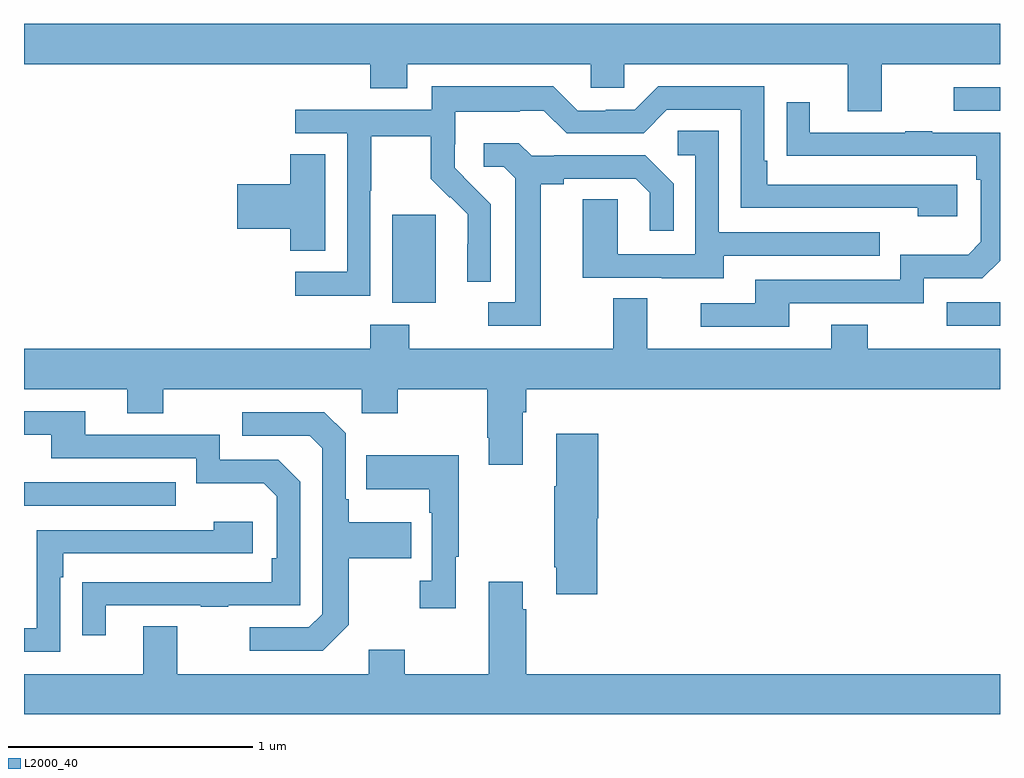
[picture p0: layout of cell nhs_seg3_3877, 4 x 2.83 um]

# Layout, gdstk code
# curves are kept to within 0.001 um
import gdstk
lib = gdstk.Library(unit=1e-6, precision=1e-09)
def R(c, l, rs):  # rectangles x0, y0, x1, y1
    for r in rs: c.add(gdstk.rectangle(r[:2], r[2:], *l))
def P(c, l, *ps):  # polygons
    for p in ps: c.add(gdstk.Polygon(p, *l))
L2000_40 = (2000, 40)

nhs_seg3_3877 = lib.new_cell('nhs_seg3_3877')
R(nhs_seg3_3877, L2000_40, [(311,725.745,311.621,725.841), (314.781,726.483,315,726.579), (312.509,726.578,312.688,726.939), (314.811,727.365,315,727.461)])
P(nhs_seg3_3877, L2000_40, [(314.515,727.556),(315,727.556),(315,727.72),(311,727.72),(311,727.556),(312.419,727.556),(312.419,727.457),(312.571,727.457),(312.571,727.556),(313.323,727.556),(313.323,727.458),(313.461,727.458),(313.461,727.556),(314.375,727.556),(314.375,727.362),(314.515,727.362)],
  [(312.42,727.036),(312.423,727.036),(312.423,727.26),(312.667,727.26),(312.667,727.085),(312.744,727.008),(312.747,727.011),(312.818,726.941),(312.818,726.818),(312.816,726.818),(312.816,726.664),(312.912,726.664),(312.912,726.982),(312.766,727.13),(312.766,727.227),(312.768,727.227),(312.768,727.361),(313.031,727.361),(313.031,727.365),(313.131,727.365),(313.224,727.272),(313.539,727.272),(313.635,727.368),(313.938,727.368),(313.938,726.966),(314.663,726.966),(314.663,726.932),(314.824,726.932),(314.824,727.062),(314.047,727.062),(314.047,727.159),(314.034,727.159),(314.034,727.464),(313.599,727.464),(313.503,727.368),(313.385,727.368),(313.385,727.365),(313.269,727.365),(313.169,727.465),(312.672,727.465),(312.672,727.368),(312.111,727.368),(312.111,727.272),(312.324,727.272),(312.324,726.705),(312.111,726.705),(312.111,726.607),(312.42,726.607)],
  [(314.137,726.576),(314.688,726.576),(314.688,726.678),(314.928,726.678),(315,726.75),(315,727.275),(314.723,727.275),(314.723,727.28),(314.611,727.28),(314.611,727.275),(314.221,727.275),(314.221,727.399),(314.125,727.399),(314.125,727.18),(314.902,727.179),(314.902,727.082),(314.922,727.082),(314.922,726.828),(314.869,726.775),(314.592,726.775),(314.592,726.672),(313.997,726.672),(313.997,726.576),(313.773,726.576),(313.773,726.48),(314.137,726.48)],
  [(313.867,726.771),(314.507,726.771),(314.507,726.867),(313.848,726.867),(313.848,727.283),(313.68,727.283),(313.68,727.182),(313.752,727.182),(313.752,726.777),(313.434,726.777),(313.434,727.001),(313.289,727.001),(313.289,726.681),(313.613,726.681),(313.613,726.677),(313.867,726.677)],
  [(313.117,727.064),(313.213,727.064),(313.213,727.086),(313.508,727.086),(313.565,727.029),(313.565,726.873),(313.662,726.873),(313.662,727.066),(313.546,727.182),(313.174,727.182),(313.174,727.179),(313.08,727.179),(313.028,727.231),(312.885,727.231),(312.885,727.134),(312.966,727.134),(313.013,727.087),(313.013,726.579),(312.903,726.579),(312.903,726.483),(313.117,726.483)],
  [(312.235,727.187),(312.092,727.187),(312.092,727.064),(311.874,727.064),(311.874,726.881),(312.092,726.881),(312.092,726.79),(312.235,726.79)],
  [(314.309,726.487),(314.309,726.388),(313.555,726.388),(313.555,726.596),(313.415,726.596),(313.415,726.388),(312.579,726.388),(312.579,726.487),(312.419,726.487),(312.419,726.388),(311,726.388),(311,726.224),(311.423,726.224),(311.423,726.125),(311.571,726.125),(311.571,726.224),(312.384,726.224),(312.384,726.125),(312.531,726.125),(312.531,726.224),(312.898,726.224),(312.898,726.025),(312.905,726.025),(312.905,725.913),(313.045,725.913),(313.045,726.128),(313.058,726.128),(313.058,726.224),(315,726.224),(315,726.388),(314.457,726.388),(314.457,726.487)],
  [(311.335,725.337),(311.725,725.337),(311.725,725.332),(311.837,725.332),(311.837,725.337),(312.132,725.337),(312.132,725.844),(312.042,725.934),(311.802,725.934),(311.802,726.036),(311.251,726.036),(311.251,726.132),(311,726.132),(311,726.036),(311.111,726.036),(311.111,725.94),(311.706,725.94),(311.706,725.837),(311.983,725.837),(312.036,725.784),(312.036,725.53),(312.016,725.53),(312.016,725.433),(311.239,725.432),(311.239,725.214),(311.335,725.214)],
  [(312.331,725.257),(312.331,725.53),(312.587,725.53),(312.587,725.677),(312.331,725.677),(312.331,725.773),(312.318,725.773),(312.318,726.042),(312.231,726.129),(311.895,726.129),(311.895,726.033),(312.171,726.033),(312.222,725.982),(312.222,725.301),(312.168,725.247),(311.925,725.247),(311.925,725.151),(312.225,725.151)],
  [(313.349,725.694),(313.354,725.694),(313.354,726.04),(313.181,726.04),(313.181,725.825),(313.174,725.825),(313.174,725.494),(313.181,725.494),(313.181,725.382),(313.349,725.382)],
  [(312.769,725.537),(312.781,725.537),(312.781,725.953),(312.403,725.953),(312.403,725.813),(312.66,725.813),(312.66,725.717),(312.672,725.717),(312.672,725.438),(312.621,725.438),(312.621,725.325),(312.769,725.325)],
  [(311.148,725.453),(311.161,725.453),(311.161,725.55),(311.938,725.55),(311.938,725.68),(311.777,725.68),(311.777,725.646),(311.052,725.646),(311.052,725.244),(311,725.244),(311,725.148),(311.148,725.148)],
  [(315,725.056),(313.058,725.056),(313.058,725.321),(313.045,725.321),(313.045,725.434),(312.905,725.434),(312.905,725.056),(312.561,725.056),(312.561,725.155),(312.413,725.155),(312.413,725.056),(311.629,725.056),(311.629,725.251),(311.489,725.251),(311.489,725.056),(311,725.056),(311,724.892),(315,724.892)])

lib.write_gds('nhs_seg3_3877.gds')
